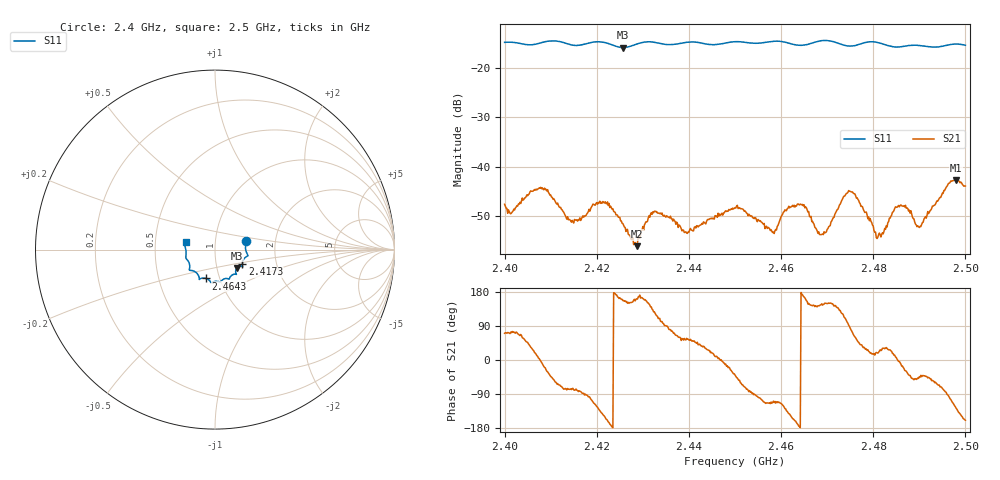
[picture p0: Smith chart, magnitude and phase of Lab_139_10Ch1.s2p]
# Hz S RI R 50
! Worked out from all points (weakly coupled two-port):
!   601 points, 2.4 GHz to 2.5 GHz, reference 50 ohm
!   highest |S21| = -42.71 dB at 2.498 GHz (marker M1); lowest = -56.1 dB at 2.4287 GHz (marker M2)
!   lowest |S11| = -15.9 dB at 2.4257 GHz (marker M3), VSWR 1.38, Z = 62.4 - j13.1 ohm
!   |S11| at or under -10 dB: start of sweep to end of sweep
!   S12 and S22 are empty: the file has one direction only
!   S11 on the Smith chart (normalised r, x): 2.4 GHz: 1.41, +0.14; 2.4173 GHz: 1.34, -0.23; 2.4643 GHz: 0.86, -0.28; 2.5 GHz: 0.72, +0.06
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2.4e9  0.1733 0.0497  0.00139 0.00392  0 0  0 0
2.408167e9  0.1787 -0.0223  0.00603 -0.00103  0 0  0 0
2.414e9  0.1656 -0.0467  0.000647 -0.00285  0 0  0 0
2.416667e9  0.1528 -0.0746  0.00026 -0.00294  0 0  0 0
2.417333e9  0.1523 -0.082  -0.000131 -0.00317  0 0  0 0
2.421833e9  0.1522 -0.0947  -0.00389 -0.00209  0 0  0 0
2.425667e9  0.1225 -0.1023  -0.00244 0.00104  0 0  0 0
2.428667e9  0.1157 -0.129  -0.00149 0.000498  0 0  0 0
2.433333e9  0.1128 -0.1369  -0.00113 0.0032  0 0  0 0
2.4395e9  0.0803 -0.1618  0.00115 0.00179  0 0  0 0
2.45e9  0.0294 -0.1808  0.00297 -0.00245  0 0  0 0
2.458167e9  -0.0194 -0.1837  -0.000824 -0.00199  0 0  0 0
2.464333e9  -0.0503 -0.1605  -0.00414 0.00014  0 0  0 0
2.466667e9  -0.0762 -0.1598  -0.00225 0.00164  0 0  0 0
2.469333e9  -0.0877 -0.1667  -0.00185 0.00118  0 0  0 0
2.475e9  -0.1066 -0.1262  0.00058 0.00558  0 0  0 0
2.480667e9  -0.1428 -0.111  0.0018 0.00065  0 0  0 0
2.483333e9  -0.1408 -0.0895  0.00247 0.00126  0 0  0 0
2.4865e9  -0.1529 -0.0594  0.00374 -0.00133  0 0  0 0
2.49e9  -0.1625 -0.0413  0.00174 -0.00169  0 0  0 0
2.498e9  -0.1707 0.0318  -0.00446 -0.0058  0 0  0 0
2.5e9  -0.1633 0.0421  -0.00594 -0.00227  0 0  0 0
